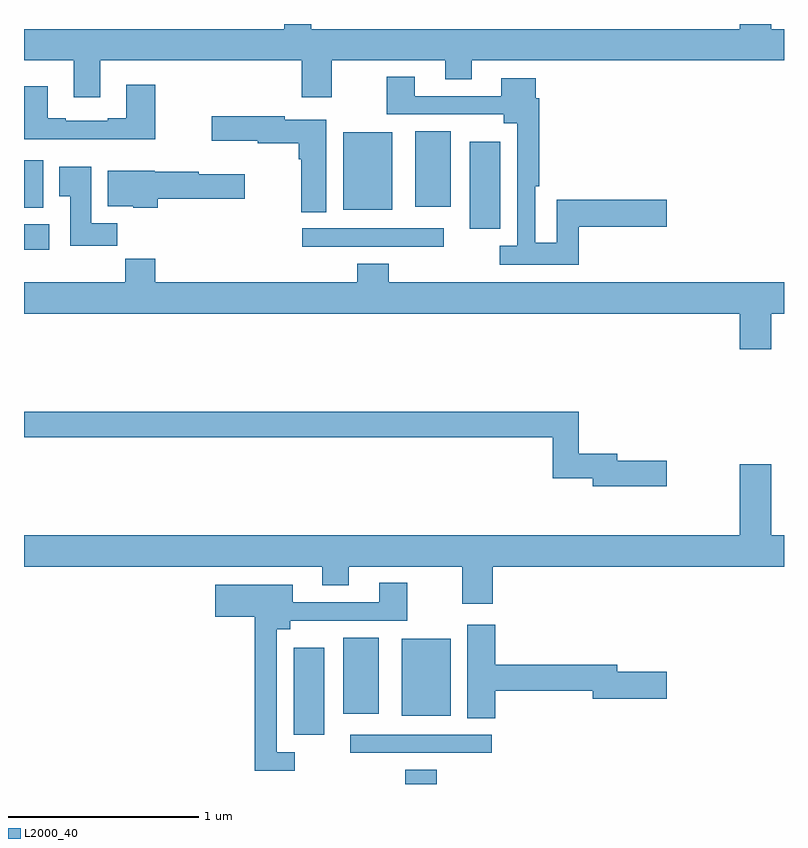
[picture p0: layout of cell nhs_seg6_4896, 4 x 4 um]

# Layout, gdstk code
import gdstk
lib = gdstk.Library(unit=1e-6, precision=1e-09)
def R(c, l, rs):  # rectangles x0, y0, x1, y1
    for r in rs: c.add(gdstk.rectangle(r[:2], r[2:], *l))
def P(c, l, *ps):  # polygons
    for p in ps: c.add(gdstk.Polygon(p, *l))
L2000_40 = (2000, 40)

nhs_seg6_4896 = lib.new_cell('nhs_seg6_4896')
R(nhs_seg6_4896, L2000_40, [(403.007,971.5,403.172,971.575), (402.717,971.664,403.462,971.76), (402.419,971.759,402.58,972.217), (402.989,971.858,403.246,972.265), (402.68,971.87,402.868,972.271), (401,974.312,401.134,974.446), (402.465,974.328,403.21,974.424), (403.346,974.423,403.507,974.881), (402.68,974.522,402.937,974.929), (401,974.534,401.101,974.784), (403.058,974.537,403.246,974.935)])
P(nhs_seg6_4896, L2000_40, [(401.401,975.308),(402.461,975.308),(402.461,975.114),(402.621,975.114),(402.621,975.308),(403.217,975.308),(403.217,975.209),(403.357,975.209),(403.357,975.308),(405,975.308),(405,975.472),(404.932,975.472),(404.932,975.5),(404.768,975.5),(404.768,975.472),(402.511,975.472),(402.511,975.5),(402.371,975.5),(402.371,975.472),(401,975.472),(401,975.308),(401.261,975.308),(401.261,975.114),(401.401,975.114)],
  [(403.919,974.434),(404.383,974.434),(404.383,974.576),(403.803,974.576),(403.803,974.348),(403.692,974.348),(403.692,974.647),(403.712,974.647),(403.712,975.11),(403.693,975.11),(403.693,975.214),(403.511,975.214),(403.511,975.12),(403.057,975.12),(403.057,975.223),(402.91,975.223),(402.91,975.024),(403.526,975.024),(403.526,974.978),(403.596,974.978),(403.596,974.332),(403.503,974.332),(403.503,974.232),(403.919,974.232)],
  [(401.69,975.181),(401.537,975.181),(401.537,975.004),(401.441,975.004),(401.441,974.991),(401.221,974.991),(401.221,975.004),(401.125,975.004),(401.125,975.172),(401,975.172),(401,974.894),(401.69,974.894)],
  [(402.592,974.995),(402.372,974.995),(402.372,975.015),(401.988,975.015),(401.988,974.885),(402.231,974.885),(402.231,974.873),(402.446,974.873),(402.446,974.789),(402.458,974.789),(402.458,974.509),(402.592,974.509)],
  [(401.492,974.452),(401.353,974.452),(401.353,974.749),(401.186,974.749),(401.186,974.593),(401.243,974.593),(401.243,974.334),(401.492,974.334)],
  [(401.705,974.581),(402.163,974.581),(402.163,974.71),(401.919,974.71),(401.919,974.723),(401.688,974.723),(401.688,974.728),(401.441,974.728),(401.441,974.54),(401.574,974.54),(401.574,974.534),(401.705,974.534)],
  [(404.932,973.976),(405,973.976),(405,974.14),(402.92,974.14),(402.92,974.239),(402.755,974.239),(402.755,974.14),(401.69,974.14),(401.69,974.264),(401.533,974.264),(401.533,974.14),(401,974.14),(401,973.976),(404.768,973.976),(404.768,973.788),(404.932,973.788)],
  [(404.383,973.202),(404.122,973.202),(404.122,973.238),(403.919,973.238),(403.919,973.46),(401,973.46),(401,973.324),(403.783,973.324),(403.783,973.11),(403.994,973.11),(403.994,973.067),(404.383,973.067)],
  [(403.466,972.644),(405,972.644),(405,972.808),(404.932,972.808),(404.932,973.183),(404.768,973.183),(404.768,972.808),(401,972.808),(401,972.644),(402.569,972.644),(402.569,972.545),(402.709,972.545),(402.709,972.644),(403.306,972.644),(403.306,972.45),(403.466,972.45)],
  [(402.424,971.667),(402.33,971.667),(402.33,972.314),(402.4,972.314),(402.4,972.36),(403.017,972.36),(403.017,972.559),(402.869,972.559),(402.869,972.456),(402.415,972.456),(402.415,972.55),(402.006,972.55),(402.006,972.38),(402.214,972.38),(402.214,971.571),(402.424,971.571)],
  [(403.481,971.992),(403.994,971.992),(403.994,971.95),(404.383,971.95),(404.383,972.092),(404.122,972.092),(404.122,972.128),(403.481,972.128),(403.481,972.337),(403.334,972.337),(403.334,971.845),(403.481,971.845)])

lib.write_gds('nhs_seg6_4896.gds')
